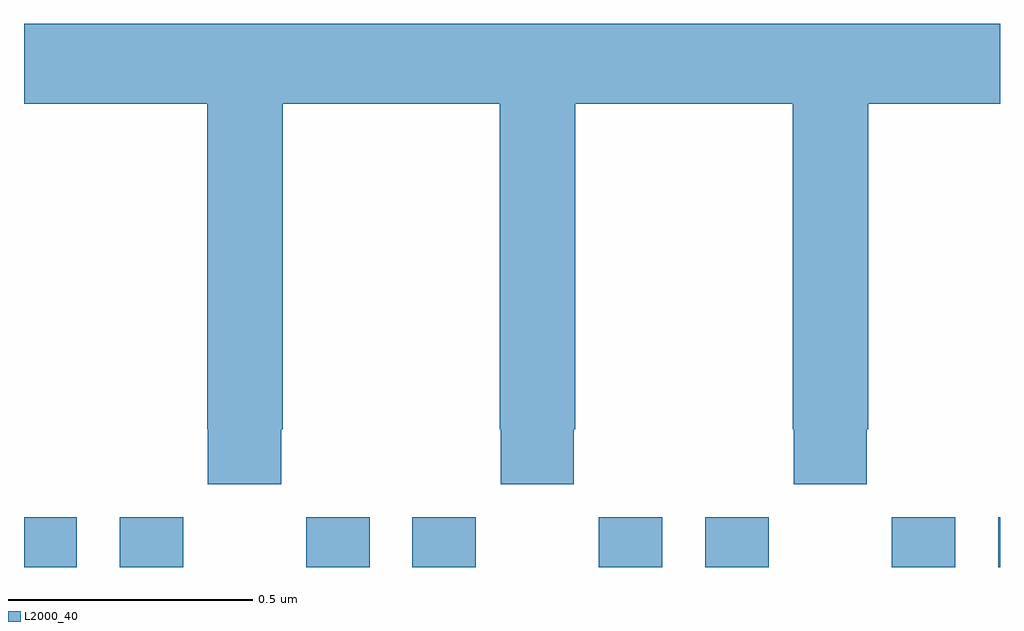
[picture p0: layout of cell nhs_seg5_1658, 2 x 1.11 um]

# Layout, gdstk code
import gdstk
lib = gdstk.Library(unit=1e-6, precision=1e-09)
def R(c, l, rs):  # rectangles x0, y0, x1, y1
    for r in rs: c.add(gdstk.rectangle(r[:2], r[2:], *l))
def P(c, l, *ps):  # polygons
    for p in ps: c.add(gdstk.Polygon(p, *l))
L2000_40 = (2000, 40)

nhs_seg5_1658 = lib.new_cell('nhs_seg5_1658')
R(nhs_seg5_1658, L2000_40, [(133,867.799,133.108,867.901), (133.196,867.799,133.326,867.901), (133.578,867.799,133.708,867.901), (133.796,867.799,133.926,867.901), (134.178,867.799,134.308,867.901), (134.396,867.799,134.526,867.901), (134.778,867.799,134.908,867.901), (134.996,867.799,135,867.901)])
P(nhs_seg5_1658, L2000_40, [(133.527,868.081),(133.53,868.081),(133.53,868.748),(133.975,868.748),(133.975,868.081),(133.977,868.081),(133.977,867.969),(134.127,867.969),(134.127,868.081),(134.13,868.081),(134.13,868.748),(134.575,868.748),(134.575,868.081),(134.577,868.081),(134.577,867.969),(134.727,867.969),(134.727,868.081),(134.73,868.081),(134.73,868.748),(135,868.748),(135,868.912),(133,868.912),(133,868.748),(133.375,868.748),(133.375,868.081),(133.377,868.081),(133.377,867.969),(133.527,867.969)])

lib.write_gds('nhs_seg5_1658.gds')
